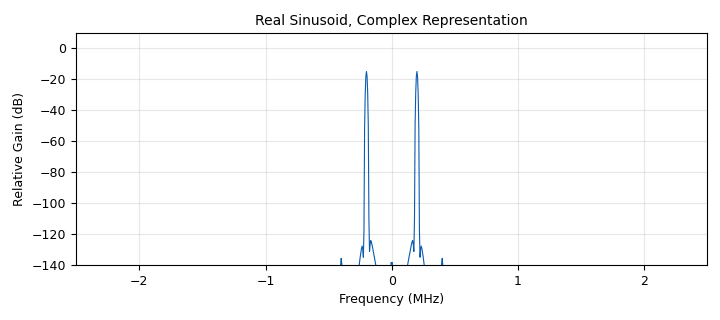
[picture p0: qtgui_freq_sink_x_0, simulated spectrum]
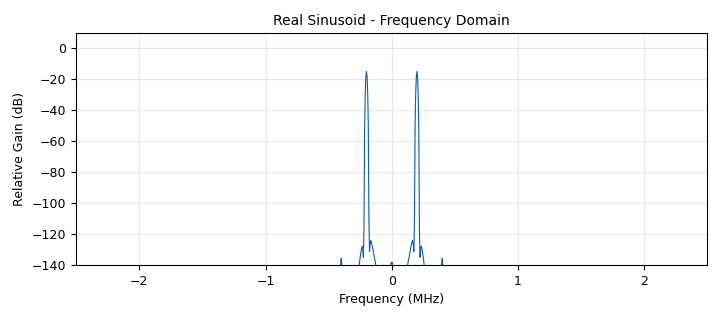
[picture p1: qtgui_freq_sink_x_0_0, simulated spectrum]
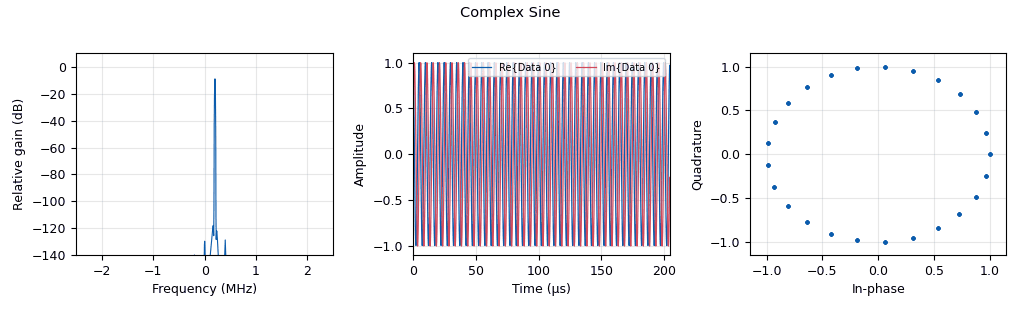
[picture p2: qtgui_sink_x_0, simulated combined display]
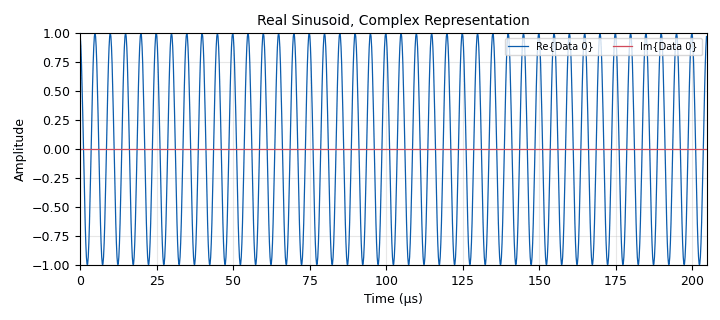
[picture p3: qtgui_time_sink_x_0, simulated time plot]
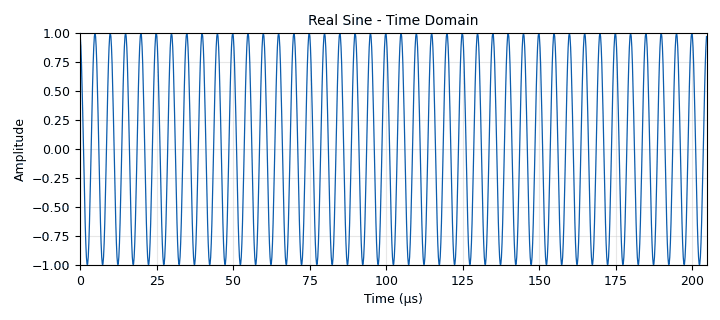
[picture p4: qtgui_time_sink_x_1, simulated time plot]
options:
  parameters:
    author: ucanlab
    description: Flowgraph to generate and display simulated signals
    generate_options: qt_gui
    id: GNURadio_Overview
    output_language: python
    title: 'GR Tutorial: Overview'
  states: {}

blocks:
- name: samp_rate
  id: variable
  parameters:
    value: 5e6
  states: {}
- name: analog_const_source_x_0
  id: analog_const_source_x
  parameters:
    const: '0'
    type: float
  states: {}
- name: analog_sig_source_x_0
  id: analog_sig_source_x
  parameters:
    amp: '1'
    freq: '200000'
    offset: '0'
    phase: '0'
    samp_rate: samp_rate
    type: complex
    waveform: analog.GR_COS_WAVE
  states: {}
- name: analog_sig_source_x_0_0
  id: analog_sig_source_x
  parameters:
    amp: '1'
    freq: '200000'
    offset: '0'
    phase: '0'
    samp_rate: samp_rate
    type: float
    waveform: analog.GR_COS_WAVE
  states: {}
- name: analog_sig_source_x_1
  id: analog_sig_source_x
  parameters:
    amp: '1'
    freq: '200000'
    offset: '0'
    phase: '0'
    samp_rate: samp_rate
    type: float
    waveform: analog.GR_COS_WAVE
  states: {}
- name: blocks_float_to_complex_0
  id: blocks_float_to_complex
  parameters: {}
  states: {}
- name: blocks_throttle_0
  id: blocks_throttle
  parameters:
    samples_per_second: samp_rate
    type: complex
  states: {}
- name: blocks_throttle_0_0
  id: blocks_throttle
  parameters:
    samples_per_second: samp_rate
    type: complex
  states: {}
- name: blocks_throttle_0_0_0
  id: blocks_throttle
  parameters:
    samples_per_second: samp_rate
    type: float
  states: {}
- name: note_1
  id: note
  parameters:
    note: Real Sinusoid
  states: {}
- name: note_1_0
  id: note
  parameters:
    note: Complex Sinusoid
  states: {}
- name: note_1_0_0
  id: note
  parameters:
    note: Real Sinusoid
  states: {}
- name: qtgui_freq_sink_x_0
  id: qtgui_freq_sink_x
  parameters:
    bw: samp_rate
    fc: '0'
    fftsize: '1024'
    gui_hint: 1,2,1,1
    name: '"Real Sinusoid, Complex Representation"'
    type: complex
    wintype: firdes.WIN_BLACKMAN_hARRIS
  states: {}
- name: qtgui_freq_sink_x_0_0
  id: qtgui_freq_sink_x
  parameters:
    bw: samp_rate
    fc: '0'
    fftsize: '1024'
    gui_hint: 0,2,1,1
    name: '"Real Sinusoid - Frequency Domain"'
    type: float
    wintype: firdes.WIN_BLACKMAN_hARRIS
  states: {}
- name: qtgui_sink_x_0
  id: qtgui_sink_x
  parameters:
    bw: samp_rate
    fc: '0'
    fftsize: '1024'
    gui_hint: 0,0,2,1
    name: '"Complex Sine"'
    type: complex
    wintype: firdes.WIN_BLACKMAN_hARRIS
  states: {}
- name: qtgui_time_sink_x_0
  id: qtgui_time_sink_x
  parameters:
    gui_hint: 1,1,1,1
    name: '"Real Sinusoid, Complex Representation"'
    size: '1024'
    srate: samp_rate
    type: complex
  states: {}
- name: qtgui_time_sink_x_1
  id: qtgui_time_sink_x
  parameters:
    gui_hint: 0,1,1,1
    name: '"Real Sine - Time Domain"'
    size: '1024'
    srate: samp_rate
    type: float
  states: {}

connections:
- [analog_const_source_x_0, '0', blocks_float_to_complex_0, '1']
- [analog_sig_source_x_0, '0', blocks_throttle_0_0, '0']
- [analog_sig_source_x_0_0, '0', blocks_throttle_0_0_0, '0']
- [analog_sig_source_x_1, '0', blocks_float_to_complex_0, '0']
- [blocks_float_to_complex_0, '0', blocks_throttle_0, '0']
- [blocks_throttle_0, '0', qtgui_freq_sink_x_0, '0']
- [blocks_throttle_0, '0', qtgui_time_sink_x_0, '0']
- [blocks_throttle_0_0, '0', qtgui_sink_x_0, '0']
- [blocks_throttle_0_0_0, '0', qtgui_freq_sink_x_0_0, '0']
- [blocks_throttle_0_0_0, '0', qtgui_time_sink_x_1, '0']

metadata:
  file_format: 1
